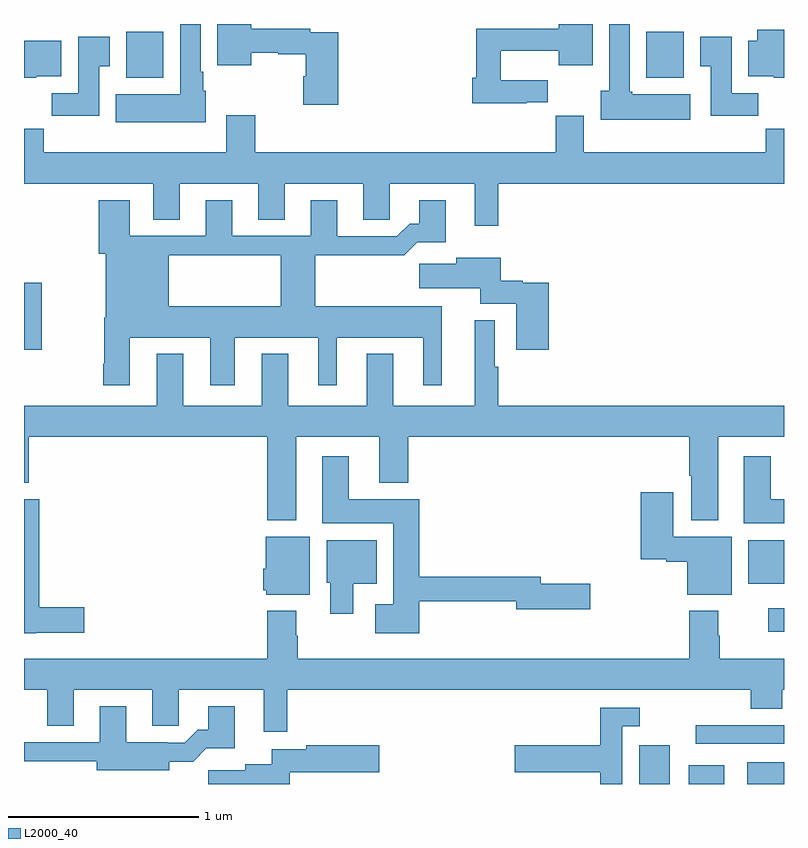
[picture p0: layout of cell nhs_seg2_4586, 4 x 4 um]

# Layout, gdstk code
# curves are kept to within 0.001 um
import gdstk
lib = gdstk.Library(unit=1e-6, precision=1e-09)
def R(c, l, rs):  # rectangles x0, y0, x1, y1
    for r in rs: c.add(gdstk.rectangle(r[:2], r[2:], *l))
def P(c, l, *ps):  # polygons
    for p in ps: c.add(gdstk.Polygon(p, *l))
L2000_40 = (2000, 40)

nhs_seg2_4586 = lib.new_cell('nhs_seg2_4586')
R(nhs_seg2_4586, L2000_40, [(362.237,653.8,362.398,654.004), (362.498,653.8,362.686,653.899), (362.807,653.8,363,653.914), (362.535,654.012,363,654.108), (362.916,654.602,363,654.724), (362.813,654.854,363,655.084), (359,656.085,359.094,656.437), (359.537,657.518,359.734,657.76), (362.276,657.518,362.473,657.76)])
P(nhs_seg2_4586, L2000_40, [(360.653,657.756),(360.506,657.756),(360.506,657.776),(360.196,657.776),(360.196,657.8),(360.017,657.8),(360.017,657.584),(360.196,657.584),(360.196,657.648),(360.339,657.648),(360.339,657.64),(360.482,657.64),(360.482,657.525),(360.47,657.525),(360.47,657.375),(360.653,657.375)],
  [(359.956,657.45),(359.944,657.45),(359.944,657.55),(359.929,657.55),(359.929,657.8),(359.822,657.8),(359.822,657.43),(359.483,657.43),(359.483,657.284),(359.956,657.284)],
  [(362.506,657.43),(362.202,657.43),(362.202,657.444),(362.188,657.444),(362.188,657.8),(362.081,657.8),(362.081,657.45),(362.036,657.45),(362.036,657.296),(362.506,657.296)],
  [(361.646,657.387),(361.757,657.387),(361.757,657.505),(361.51,657.505),(361.51,657.659),(361.814,657.659),(361.814,657.584),(361.993,657.584),(361.993,657.8),(361.814,657.8),(361.814,657.776),(361.381,657.776),(361.381,657.518),(361.358,657.518),(361.358,657.383),(361.646,657.383)],
  [(363,657.769),(362.858,657.769),(362.858,657.712),(362.813,657.712),(362.813,657.524),(362.946,657.524),(362.946,657.518),(363,657.518)],
  [(359.395,657.577),(359.452,657.577),(359.452,657.733),(359.285,657.733),(359.285,657.436),(359.146,657.436),(359.146,657.318),(359.395,657.318)],
  [(362.864,657.436),(362.725,657.436),(362.725,657.733),(362.558,657.733),(362.558,657.577),(362.615,657.577),(362.615,657.318),(362.864,657.318)],
  [(359.064,657.524),(359.197,657.524),(359.197,657.712),(359,657.712),(359,657.518),(359.064,657.518)],
  [(361.495,656.96),(363,656.96),(363,657.248),(362.905,657.248),(362.905,657.124),(361.945,657.124),(361.945,657.317),(361.799,657.317),(361.799,657.124),(360.218,657.124),(360.218,657.319),(360.065,657.319),(360.065,657.124),(359.105,657.124),(359.105,657.248),(359,657.248),(359,656.96),(359.681,656.96),(359.681,656.77),(359.821,656.77),(359.821,656.96),(360.233,656.96),(360.233,656.77),(360.373,656.77),(360.373,656.96),(360.785,656.96),(360.785,656.77),(360.924,656.77),(360.924,656.96),(361.373,656.96),(361.373,656.739),(361.495,656.739)],
  [(359.422,656.254),(359.422,656.011),(359.417,656.011),(359.417,655.899),(359.557,655.899),(359.557,656.15),(359.981,656.15),(359.981,655.899),(360.109,655.899),(360.109,656.15),(360.548,656.15),(360.548,655.899),(360.646,655.899),(360.646,656.15),(361.1,656.15),(361.1,655.899),(361.198,655.899),(361.198,656.314),(360.533,656.314),(360.533,656.582),(361.001,656.582),(361.07,656.651),(361.219,656.651),(361.219,656.872),(361.079,656.872),(361.079,656.749),(361.03,656.749),(360.963,656.682),(360.649,656.682),(360.649,656.872),(360.509,656.872),(360.509,656.685),(360.097,656.685),(360.097,656.872),(359.957,656.872),(359.957,656.685),(359.557,656.685),(359.557,656.872),(359.393,656.872),(359.393,656.592),(359.429,656.592),(359.429,656.314),(359.761,656.314),(359.761,656.584),(360.35,656.584),(360.35,656.314),(359.429,656.314),(359.429,656.254)],
  [(361.763,656.437),(361.626,656.437),(361.626,656.45),(361.51,656.45),(361.51,656.569),(361.274,656.569),(361.274,656.537),(361.08,656.537),(361.08,656.408),(361.4,656.408),(361.4,656.327),(361.592,656.327),(361.592,656.085),(361.763,656.085)],
  [(360.433,655.628),(360.869,655.628),(360.869,655.385),(361.022,655.385),(361.022,655.628),(362.501,655.628),(362.501,655.423),(362.513,655.423),(362.513,655.187),(362.653,655.187),(362.653,655.628),(363,655.628),(363,655.792),(361.495,655.792),(361.495,655.997),(361.477,655.997),(361.477,656.242),(361.373,656.242),(361.373,655.792),(360.943,655.792),(360.943,656.065),(360.803,656.065),(360.803,655.792),(360.391,655.792),(360.391,656.065),(360.251,656.065),(360.251,655.792),(359.839,655.792),(359.839,656.065),(359.699,656.065),(359.699,655.792),(359,655.792),(359,655.385),(359.024,655.385),(359.024,655.628),(360.281,655.628),(360.281,655.187),(360.433,655.187)],
  [(361.079,654.762),(361.592,654.762),(361.592,654.719),(361.981,654.719),(361.981,654.854),(361.72,654.854),(361.72,654.89),(361.079,654.89),(361.079,655.3),(360.709,655.3),(360.709,655.525),(360.569,655.525),(360.569,655.172),(360.944,655.172),(360.944,654.745),(360.849,654.745),(360.849,654.593),(361.079,654.593)],
  [(363,655.3),(362.929,655.3),(362.929,655.525),(362.789,655.525),(362.789,655.172),(363,655.172)],
  [(362.725,655.102),(362.416,655.102),(362.416,655.336),(362.246,655.336),(362.246,654.983),(362.379,654.983),(362.379,654.971),(362.492,654.971),(362.492,654.797),(362.725,654.797)],
  [(359.064,654.596),(359.317,654.596),(359.317,654.731),(359.081,654.731),(359.081,655.3),(359,655.3),(359,654.593),(359.064,654.593)],
  [(360.505,655.102),(360.272,655.102),(360.272,654.933),(360.26,654.933),(360.26,654.819),(360.276,654.819),(360.276,654.797),(360.505,654.797)],
  [(360.733,654.854),(360.856,654.854),(360.856,655.084),(360.593,655.084),(360.593,654.858),(360.611,654.858),(360.611,654.696),(360.733,654.696)],
  [(360.385,654.296),(362.825,654.296),(362.825,654.197),(362.99,654.197),(362.99,654.296),(363,654.296),(363,654.46),(362.661,654.46),(362.661,654.581),(362.653,654.581),(362.653,654.712),(362.501,654.712),(362.501,654.46),(360.441,654.46),(360.441,654.581),(360.433,654.581),(360.433,654.712),(360.281,654.712),(360.281,654.46),(359,654.46),(359,654.296),(359.123,654.296),(359.123,654.106),(359.263,654.106),(359.263,654.296),(359.675,654.296),(359.675,654.106),(359.814,654.106),(359.814,654.296),(360.263,654.296),(360.263,654.075),(360.385,654.075)],
  [(359.764,653.918),(359.891,653.918),(359.96,653.987),(360.109,653.987),(360.109,654.208),(359.969,654.208),(359.969,654.085),(359.914,654.085),(359.847,654.018),(359.753,654.018),(359.753,654.021),(359.539,654.021),(359.539,654.208),(359.399,654.208),(359.399,654.021),(359,654.021),(359,653.92),(359.384,653.92),(359.384,653.873),(359.764,653.873)],
  [(362.148,654.105),(362.242,654.105),(362.242,654.201),(362.032,654.201),(362.032,654.003),(361.584,654.003),(361.584,653.861),(362.032,653.861),(362.032,653.8),(362.148,653.8)],
  [(360.399,653.861),(360.871,653.861),(360.871,654.003),(360.486,654.003),(360.486,653.983),(360.303,653.983),(360.303,653.905),(360.164,653.905),(360.164,653.873),(359.97,653.873),(359.97,653.8),(360.399,653.8)])

lib.write_gds('nhs_seg2_4586.gds')
